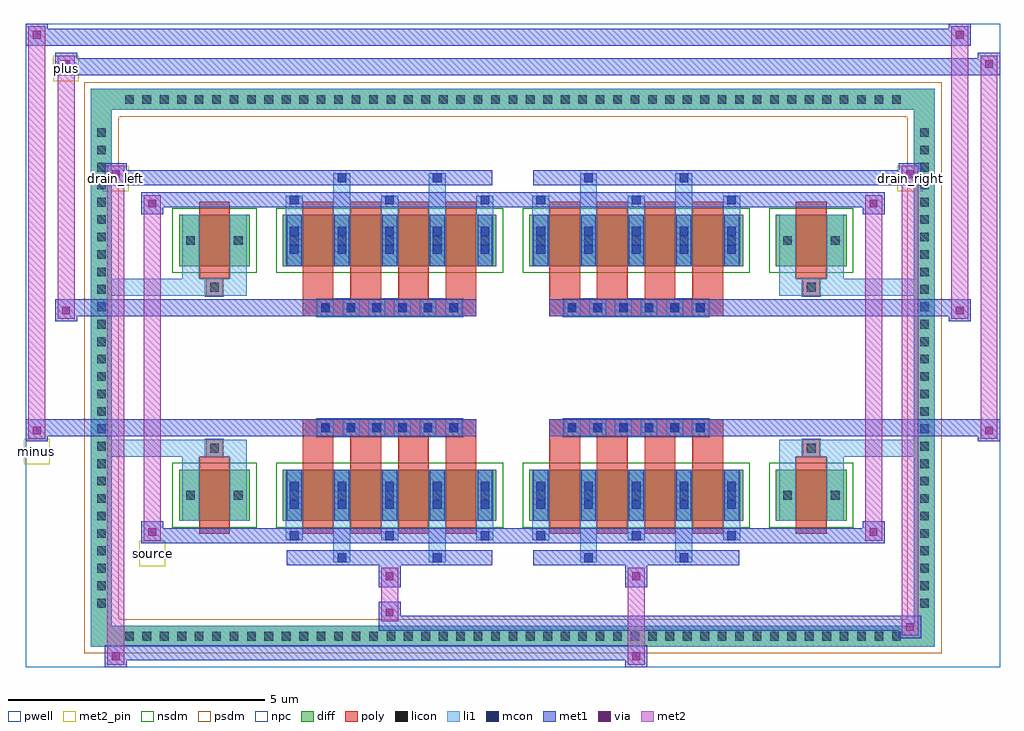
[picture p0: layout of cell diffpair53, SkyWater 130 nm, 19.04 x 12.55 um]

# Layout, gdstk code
import gdstk
lib = gdstk.Library(unit=1e-6, precision=5e-09)
def R(c, l, rs):  # rectangles x0, y0, x1, y1
    for r in rs: c.add(gdstk.rectangle(r[:2], r[2:], *l))
def A(c, l, x, y, w, h, nx, ny, dx, dy):  # array of equal rectangles
    R(c, l, [(x+i*dx, y+j*dy, x+i*dx+w, y+j*dy+h) for i in range(nx) for j in range(ny)])
def P(c, l, *ps):  # polygons
    for p in ps: c.add(gdstk.Polygon(p, *l))
pwell = (64, 44)
diff = (65, 20)
poly = (66, 20)
licon = (66, 44)
li1 = (67, 20)
mcon = (67, 44)
met1 = (68, 20)
via = (68, 44)
met2_pin = (69, 16)
met2 = (69, 20)
nsdm = (93, 44)
psdm = (94, 20)
npc = (95, 20)

diffpair53 = lib.new_cell('diffpair53')
R(diffpair53, pwell, [(-9.5,-5.84,9.5,6.71), (-6.82,-4.03,-0.01,-0.805), (0.01,-4.03,6.82,-0.805), (-6.82,0.805,-0.01,4.03), (0.01,0.805,6.82,4.03)])
A(diffpair53, diff, -7.685, -5.44, 0.41, 0.41, 45, 2, 0.34, 10.47)
A(diffpair53, diff, -8.23, -4.795, 0.41, 0.41, 1, 28, 0, 0.34)
A(diffpair53, diff, 7.82, -4.795, 0.41, 0.41, 1, 28, 0, 0.34)
R(diffpair53, diff, [(-7.685,-5.44,7.685,-5.03), (-8.23,-4.795,-7.82,4.795), (7.82,-4.795,8.23,4.795), (-6.51,-2.985,-5.13,-1.985), (-4.49,-2.985,-0.32,-1.985), (0.32,-2.985,4.49,-1.985), (5.13,-2.985,6.51,-1.985), (-6.51,1.985,-5.13,2.985), (-4.49,1.985,-0.32,2.985), (0.32,1.985,4.49,2.985), (5.13,1.985,6.51,2.985), (-7.685,5.03,7.685,5.44)])
P(diffpair53, diff, [(8.23,5.44),(-8.23,5.44),(-8.23,-5.03),(-7.82,-5.03),(-7.82,5.03),(7.82,5.03),(7.82,-5.03),(-7.82,-5.03),(-8.23,-5.03),(-8.23,-5.44),(8.23,-5.44)])
A(diffpair53, poly, -4.1, -3.235, 0.6, 1.5, 4, 2, 0.93, 4.97)
A(diffpair53, poly, 0.71, -3.235, 0.6, 1.5, 4, 2, 0.93, 4.97)
A(diffpair53, poly, -4.1, -1.735, 0.6, 0.4, 4, 2, 0.93, 3.07)
A(diffpair53, poly, 0.71, -1.735, 0.6, 0.4, 4, 2, 0.93, 3.07)
A(diffpair53, poly, -3.82, -1.335, 0.33, 0.33, 6, 2, 0.5, 2.34)
A(diffpair53, poly, 0.99, -1.335, 0.33, 0.33, 6, 2, 0.5, 2.34)
R(diffpair53, poly, [(-6.12,-3.235,-5.52,-1.735), (5.52,-3.235,6.12,-1.735), (-5.985,-1.735,-5.655,-1.405), (-5.985,-1.735,-5.655,-1.405), (5.655,-1.735,5.985,-1.405), (5.655,-1.735,5.985,-1.405), (-4.1,-1.335,-0.71,-1.005), (0.71,-1.335,4.1,-1.005), (-4.1,1.005,-0.71,1.335), (0.71,1.005,4.1,1.335), (-5.985,1.405,-5.655,1.735), (-5.985,1.405,-5.655,1.735), (5.655,1.405,5.985,1.735), (5.655,1.405,5.985,1.735), (-6.12,1.735,-5.52,3.235), (5.52,1.735,6.12,3.235)])
A(diffpair53, licon, -7.565, -5.32, 0.17, 0.17, 45, 2, 0.34, 10.47)
A(diffpair53, licon, -8.11, -4.675, 0.17, 0.17, 1, 28, 0, 0.34)
A(diffpair53, licon, 7.94, -4.675, 0.17, 0.17, 1, 28, 0, 0.34)
A(diffpair53, licon, -4.35, -2.57, 0.17, 0.17, 5, 2, 0.93, 4.97)
A(diffpair53, licon, 0.46, -2.57, 0.17, 0.17, 5, 2, 0.93, 4.97)
A(diffpair53, licon, -3.74, -1.255, 0.17, 0.17, 6, 2, 0.5, 2.34)
A(diffpair53, licon, 1.07, -1.255, 0.17, 0.17, 6, 2, 0.5, 2.34)
R(diffpair53, licon, [(-6.37,-2.57,-6.2,-2.4), (-5.44,-2.57,-5.27,-2.4), (5.27,-2.57,5.44,-2.4), (6.2,-2.57,6.37,-2.4), (-5.905,-1.655,-5.735,-1.485), (5.735,-1.655,5.905,-1.485), (-5.905,1.485,-5.735,1.655), (5.735,1.485,5.905,1.655), (-6.37,2.4,-6.2,2.57), (-5.44,2.4,-5.27,2.57), (5.27,2.4,5.44,2.57), (6.2,2.4,6.37,2.57)])
A(diffpair53, li1, -7.645, -5.4, 0.33, 0.33, 45, 2, 0.34, 10.47)
A(diffpair53, li1, -8.19, -4.755, 0.33, 0.33, 1, 28, 0, 0.34)
A(diffpair53, li1, 7.86, -4.755, 0.33, 0.33, 1, 28, 0, 0.34)
A(diffpair53, li1, -4.43, -3.36, 0.33, 0.375, 3, 2, 1.86, 6.345)
A(diffpair53, li1, -4.35, -3.36, 0.17, 0.17, 3, 2, 1.86, 6.55)
A(diffpair53, li1, 0.38, -3.36, 0.33, 0.375, 3, 2, 1.86, 6.345)
A(diffpair53, li1, 0.46, -3.36, 0.17, 0.17, 3, 2, 1.86, 6.55)
A(diffpair53, li1, -4.43, -2.985, 0.33, 1, 5, 2, 0.93, 4.97)
A(diffpair53, li1, 0.38, -2.985, 0.33, 1, 5, 2, 0.93, 4.97)
A(diffpair53, li1, -4.35, -2.75, 0.17, 0.17, 5, 2, 0.93, 0.36)
A(diffpair53, li1, -4.35, -2.75, 0.17, 0.53, 5, 2, 0.93, 4.97)
A(diffpair53, li1, 0.46, -2.75, 0.17, 0.17, 5, 2, 0.93, 0.36)
A(diffpair53, li1, 0.46, -2.75, 0.17, 0.53, 5, 2, 0.93, 4.97)
A(diffpair53, li1, -4.43, -2.65, 0.33, 0.33, 5, 2, 0.93, 4.97)
A(diffpair53, li1, 0.38, -2.65, 0.33, 0.33, 5, 2, 0.93, 4.97)
A(diffpair53, li1, -3.82, -1.335, 0.33, 0.33, 6, 2, 0.5, 2.34)
A(diffpair53, li1, 0.99, -1.335, 0.33, 0.33, 6, 2, 0.5, 2.34)
A(diffpair53, li1, -4.35, 2.22, 0.17, 0.17, 5, 2, 0.93, 0.36)
A(diffpair53, li1, 0.46, 2.22, 0.17, 0.17, 5, 2, 0.93, 0.36)
R(diffpair53, li1, [(-8.23,-5.44,-7.82,-5.03), (-8.23,-5.44,-7.82,-5.03), (-7.82,-5.44,7.82,-5.03), (7.82,-5.44,8.23,-5.03), (7.82,-5.44,8.23,-5.03), (-8.23,-5.03,-7.82,5.03), (7.82,-5.03,8.23,5.03), (-3.5,-3.79,-3.17,-2.985), (-3.42,-3.79,-3.25,-3.62), (-1.64,-3.79,-1.31,-2.985), (-1.56,-3.79,-1.39,-3.62), (1.31,-3.79,1.64,-2.985), (1.39,-3.79,1.56,-3.62), (3.17,-3.79,3.5,-2.985), (3.25,-3.79,3.42,-3.62), (-6.45,-2.985,-6.12,-1.985), (-5.52,-2.985,-5.19,-1.985), (5.19,-2.985,5.52,-1.985), (6.12,-2.985,6.45,-1.985), (-6.45,-2.65,-6.12,-2.32), (-5.52,-2.65,-5.19,-2.32), (5.19,-2.65,5.52,-2.32), (6.12,-2.65,6.45,-2.32), (-6.45,-1.985,-6.12,-1.405), (-5.52,-1.985,-5.19,-1.405), (5.19,-1.985,5.52,-1.405), (6.12,-1.985,6.45,-1.405), (-8.23,-1.735,-5.985,-1.405), (-6.45,-1.735,-5.985,-1.405), (-5.985,-1.735,-5.655,-1.405), (-5.655,-1.735,-5.19,-1.405), (5.19,-1.735,5.655,-1.405), (5.655,-1.735,5.985,-1.405), (5.655,-1.735,8.23,-1.405), (5.985,-1.735,6.45,-1.405), (-8.23,1.405,-5.985,1.735), (-6.45,1.405,-5.985,1.735), (-6.45,1.405,-6.12,1.985), (-5.985,1.405,-5.655,1.735), (-5.655,1.405,-5.19,1.735), (-5.52,1.405,-5.19,1.985), (5.19,1.405,5.655,1.735), (5.19,1.405,5.52,1.985), (5.655,1.405,5.985,1.735), (5.655,1.405,8.23,1.735), (5.985,1.405,6.45,1.735), (6.12,1.405,6.45,1.985), (-6.45,1.985,-6.12,2.985), (-5.52,1.985,-5.19,2.985), (5.19,1.985,5.52,2.985), (6.12,1.985,6.45,2.985), (-6.45,2.32,-6.12,2.65), (-5.52,2.32,-5.19,2.65), (5.19,2.32,5.52,2.65), (6.12,2.32,6.45,2.65), (-3.5,2.985,-3.17,3.79), (-1.64,2.985,-1.31,3.79), (1.31,2.985,1.64,3.79), (3.17,2.985,3.5,3.79), (-3.42,3.62,-3.25,3.79), (-1.56,3.62,-1.39,3.79), (1.39,3.62,1.56,3.79), (3.25,3.62,3.42,3.79), (-8.23,5.03,-7.82,5.44), (-8.23,5.03,-7.82,5.44), (-7.82,5.03,7.82,5.44), (7.82,5.03,8.23,5.44), (7.82,5.03,8.23,5.44)])
A(diffpair53, mcon, -4.35, -3.36, 0.17, 0.17, 3, 2, 1.86, 6.55)
A(diffpair53, mcon, 0.46, -3.36, 0.17, 0.17, 3, 2, 1.86, 6.55)
A(diffpair53, mcon, -4.35, -2.75, 0.17, 0.17, 5, 2, 0.93, 0.36)
A(diffpair53, mcon, 0.46, -2.75, 0.17, 0.17, 5, 2, 0.93, 0.36)
A(diffpair53, mcon, -3.74, -1.255, 0.17, 0.17, 6, 2, 0.5, 2.34)
A(diffpair53, mcon, 1.07, -1.255, 0.17, 0.17, 6, 2, 0.5, 2.34)
A(diffpair53, mcon, -4.35, 2.22, 0.17, 0.17, 5, 2, 0.93, 0.36)
A(diffpair53, mcon, 0.46, 2.22, 0.17, 0.17, 5, 2, 0.93, 0.36)
R(diffpair53, mcon, [(-3.42,-3.79,-3.25,-3.62), (-1.56,-3.79,-1.39,-3.62), (1.39,-3.79,1.56,-3.62), (3.25,-3.79,3.42,-3.62), (-3.42,3.62,-3.25,3.79), (-1.56,3.62,-1.39,3.79), (1.39,3.62,1.56,3.79), (3.25,3.62,3.42,3.79)])
A(diffpair53, met1, -4.41, -3.42, 0.29, 0.29, 3, 2, 1.86, 6.55)
A(diffpair53, met1, 0.4, -3.42, 0.29, 0.29, 3, 2, 1.86, 6.55)
A(diffpair53, met1, -4.41, -2.985, 0.29, 1, 5, 2, 0.93, 4.97)
A(diffpair53, met1, 0.4, -2.985, 0.29, 1, 5, 2, 0.93, 4.97)
A(diffpair53, met1, -4.41, -2.81, 0.29, 0.29, 5, 2, 0.93, 0.36)
A(diffpair53, met1, 0.4, -2.81, 0.29, 0.29, 5, 2, 0.93, 0.36)
A(diffpair53, met1, -3.8, -1.315, 0.29, 0.29, 6, 2, 0.5, 2.34)
A(diffpair53, met1, 1.01, -1.315, 0.29, 0.29, 6, 2, 0.5, 2.34)
A(diffpair53, met1, -4.41, 2.16, 0.29, 0.29, 5, 2, 0.93, 0.36)
A(diffpair53, met1, 0.4, 2.16, 0.29, 0.29, 5, 2, 0.93, 0.36)
R(diffpair53, met1, [(-7.96,-5.84,-7.53,-5.41), (2.19,-5.84,2.62,-5.41), (-7.96,-5.7,2.62,-5.41), (7.53,-5.27,7.96,-4.84), (-2.62,-5.13,7.96,-4.84), (-2.62,-4.99,-2.19,-4.56), (-2.62,-4.28,-2.19,-3.85), (2.19,-4.28,2.62,-3.85), (-4.41,-3.85,-0.4,-3.56), (-3.48,-3.85,-3.19,-3.56), (-1.62,-3.85,-1.33,-3.56), (0.4,-3.85,4.41,-3.56), (1.33,-3.85,1.62,-3.56), (3.19,-3.85,3.48,-3.56), (-7.25,-3.42,-6.82,-2.99), (-7.25,-3.42,-4.41,-3.13), (-4.41,-3.42,-0.4,-3.13), (-0.4,-3.42,0.4,-3.13), (0.4,-3.42,4.41,-3.13), (4.41,-3.42,7.25,-3.13), (6.82,-3.42,7.25,-2.99), (-9.5,-1.435,-9.07,-1.005), (9.07,-1.435,9.5,-1.005), (-9.5,-1.335,-0.71,-1.005), (-4.1,-1.335,-0.71,-1.005), (0.71,-1.335,4.1,-1.005), (0.71,-1.335,9.5,-1.005), (-8.93,0.905,-8.5,1.335), (8.5,0.905,8.93,1.335), (-8.93,1.005,-4.1,1.335), (-4.1,1.005,-0.71,1.335), (0.71,1.005,4.1,1.335), (4.1,1.005,8.93,1.335), (-7.25,2.99,-6.82,3.42), (6.82,2.99,7.25,3.42), (-7.25,3.13,-4.41,3.42), (-4.41,3.13,-0.4,3.42), (-0.4,3.13,0.4,3.42), (0.4,3.13,4.41,3.42), (4.41,3.13,7.25,3.42), (-7.96,3.56,-7.53,3.99), (-7.96,3.56,-4.41,3.85), (-4.41,3.56,-0.4,3.85), (-3.48,3.56,-3.19,3.85), (-1.62,3.56,-1.33,3.85), (0.4,3.56,4.41,3.85), (1.33,3.56,1.62,3.85), (3.19,3.56,3.48,3.85), (4.41,3.56,7.96,3.85), (7.53,3.56,7.96,3.99), (-8.93,5.71,-8.5,6.14), (-8.93,5.71,-6.82,6.04), (-6.82,5.71,6.82,6.04), (6.82,5.71,9.5,6.04), (9.07,5.71,9.5,6.14), (-9.5,6.28,-9.07,6.71), (-9.5,6.28,-6.82,6.61), (-6.82,6.28,6.82,6.61), (6.82,6.28,8.93,6.61), (8.5,6.28,8.93,6.71)])
R(diffpair53, via, [(-7.82,-5.7,-7.67,-5.55), (2.33,-5.7,2.48,-5.55), (7.67,-5.13,7.82,-4.98), (-2.48,-4.85,-2.33,-4.7), (-2.48,-4.14,-2.33,-3.99), (2.33,-4.14,2.48,-3.99), (-7.11,-3.28,-6.96,-3.13), (6.96,-3.28,7.11,-3.13), (-9.36,-1.295,-9.21,-1.145), (9.21,-1.295,9.36,-1.145), (-8.79,1.045,-8.64,1.195), (8.64,1.045,8.79,1.195), (-7.11,3.13,-6.96,3.28), (6.96,3.13,7.11,3.28), (-7.82,3.7,-7.67,3.85), (7.67,3.7,7.82,3.85), (-8.79,5.85,-8.64,6), (9.21,5.85,9.36,6), (-9.36,6.42,-9.21,6.57), (8.64,6.42,8.79,6.57)])
R(diffpair53, met2_pin, [(-7.285,-3.87,-6.785,-3.37), (-9.535,-1.885,-9.035,-1.385), (-7.995,3.44,-7.495,3.94), (7.495,3.44,7.995,3.94), (-8.965,5.59,-8.465,6.09)])
R(diffpair53, met2, [(-7.91,-5.79,-7.58,-5.46), (-7.91,-5.79,-7.58,3.94), (2.24,-5.79,2.57,-5.46), (2.24,-5.46,2.57,-4.23), (7.58,-5.22,7.91,-4.89), (7.58,-5.22,7.91,3.94), (-2.57,-4.94,-2.24,-4.61), (-2.57,-4.61,-2.24,-4.23), (-2.57,-4.23,-2.24,-3.9), (2.24,-4.23,2.57,-3.9), (-7.2,-3.37,-6.87,-3.04), (-7.2,-3.37,-6.87,3.37), (6.87,-3.37,7.2,-3.04), (6.87,-3.37,7.2,3.37), (-9.45,-1.385,-9.12,-1.055), (-9.45,-1.385,-9.12,6.66), (9.12,-1.385,9.45,-1.055), (9.12,-1.385,9.45,6.09), (-8.88,0.955,-8.55,1.285), (-8.88,0.955,-8.55,6.09), (8.55,0.955,8.88,1.285), (8.55,0.955,8.88,6.66), (-7.2,3.04,-6.87,3.37), (6.87,3.04,7.2,3.37), (-7.91,3.61,-7.58,3.94), (7.58,3.61,7.91,3.94), (-8.88,5.76,-8.55,6.09), (9.12,5.76,9.45,6.09), (-9.45,6.33,-9.12,6.66), (8.55,6.33,8.88,6.66)])
P(diffpair53, met2, [(9.45,-1.385),(9.45,-1.385),(9.45,-1.055),(9.45,-1.055)],
  [(9.45,5.76),(9.45,5.76),(9.45,6.09),(9.45,6.09)],
  [(-9.12,-1.385),(-9.12,-1.385),(-9.12,-1.055),(-9.12,-1.055)],
  [(-9.12,6.33),(-9.12,6.33),(-9.12,6.66),(-9.12,6.66)],
  [(8.88,0.955),(8.88,0.955),(8.88,1.285),(8.88,1.285)],
  [(8.88,6.33),(8.88,6.33),(8.88,6.66),(8.88,6.66)],
  [(-8.55,0.955),(-8.55,0.955),(-8.55,1.285),(-8.55,1.285)],
  [(-8.55,5.76),(-8.55,5.76),(-8.55,6.09),(-8.55,6.09)],
  [(-7.58,-5.79),(-7.58,-5.79),(-7.58,-5.46),(-7.58,-5.46)],
  [(-7.58,3.61),(-7.58,3.61),(-7.58,3.94),(-7.58,3.94)],
  [(7.91,-5.22),(7.91,-5.22),(7.91,-4.89),(7.91,-4.89)],
  [(7.91,3.61),(7.91,3.61),(7.91,3.94),(7.91,3.94)],
  [(-6.87,-3.37),(-6.87,-3.37),(-6.87,-3.04),(-6.87,-3.04)],
  [(-6.87,3.04),(-6.87,3.04),(-6.87,3.37),(-6.87,3.37)],
  [(7.2,-3.37),(7.2,-3.37),(7.2,-3.04),(7.2,-3.04)],
  [(7.2,3.04),(7.2,3.04),(7.2,3.37),(7.2,3.37)])
R(diffpair53, nsdm, [(-6.64,-3.115,-5,-1.855), (-4.62,-3.115,-0.19,-1.855), (0.19,-3.115,4.62,-1.855), (5,-3.115,6.64,-1.855), (-6.64,1.855,-5,3.115), (-4.62,1.855,-0.19,3.115), (0.19,1.855,4.62,3.115), (5,1.855,6.64,3.115)])
P(diffpair53, psdm, [(8.36,5.57),(-8.36,5.57),(-8.36,-4.9),(-7.69,-4.9),(-7.69,4.9),(7.69,4.9),(7.69,-4.9),(-7.69,-4.9),(-8.36,-4.9),(-8.36,-5.57),(8.36,-5.57)])
A(diffpair53, npc, -3.84, -1.355, 0.37, 0.37, 6, 2, 0.5, 2.34)
A(diffpair53, npc, 0.97, -1.355, 0.37, 0.37, 6, 2, 0.5, 2.34)
R(diffpair53, npc, [(-6.005,-1.755,-5.635,-1.385), (5.635,-1.755,6.005,-1.385), (-3.84,-1.355,-2.97,-0.985), (-3.84,-1.355,-2.97,-0.985), (-3.34,-1.355,-2.47,-0.985), (-3.34,-1.355,-2.47,-0.985), (-2.84,-1.355,-1.97,-0.985), (-2.84,-1.355,-1.97,-0.985), (-2.34,-1.355,-1.47,-0.985), (-2.34,-1.355,-1.47,-0.985), (-1.84,-1.355,-0.97,-0.985), (-1.84,-1.355,-0.97,-0.985), (0.97,-1.355,1.84,-0.985), (0.97,-1.355,1.84,-0.985), (1.47,-1.355,2.34,-0.985), (1.47,-1.355,2.34,-0.985), (1.97,-1.355,2.84,-0.985), (1.97,-1.355,2.84,-0.985), (2.47,-1.355,3.34,-0.985), (2.47,-1.355,3.34,-0.985), (2.97,-1.355,3.84,-0.985), (2.97,-1.355,3.84,-0.985), (-3.84,0.985,-2.97,1.355), (-3.84,0.985,-2.97,1.355), (-3.34,0.985,-2.47,1.355), (-3.34,0.985,-2.47,1.355), (-2.84,0.985,-1.97,1.355), (-2.84,0.985,-1.97,1.355), (-2.34,0.985,-1.47,1.355), (-2.34,0.985,-1.47,1.355), (-1.84,0.985,-0.97,1.355), (-1.84,0.985,-0.97,1.355), (0.97,0.985,1.84,1.355), (0.97,0.985,1.84,1.355), (1.47,0.985,2.34,1.355), (1.47,0.985,2.34,1.355), (1.97,0.985,2.84,1.355), (1.97,0.985,2.84,1.355), (2.47,0.985,3.34,1.355), (2.47,0.985,3.34,1.355), (2.97,0.985,3.84,1.355), (2.97,0.985,3.84,1.355), (-6.005,1.385,-5.635,1.755), (5.635,1.385,6.005,1.755)])
diffpair53.add(gdstk.Label('minus', (-9.285,-1.635), layer=69, texttype=5))
diffpair53.add(gdstk.Label('drain_right', (7.745,3.69), layer=69, texttype=5))
diffpair53.add(gdstk.Label('drain_left', (-7.745,3.69), layer=69, texttype=5))
diffpair53.add(gdstk.Label('source', (-7.035,-3.62), layer=69, texttype=5))
diffpair53.add(gdstk.Label('plus', (-8.715,5.84), layer=69, texttype=5))

lib.write_gds('diffpair53.gds')
